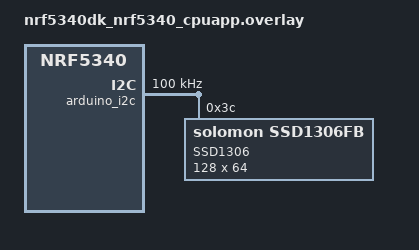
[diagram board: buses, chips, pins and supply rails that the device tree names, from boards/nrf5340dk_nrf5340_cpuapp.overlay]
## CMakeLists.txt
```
# SPDX-License-Identifier: Apache-2.0

cmake_minimum_required(VERSION 3.20.0)
set(SHIELD ssd1306_128x64)

find_package(Zephyr REQUIRED HINTS $ENV{ZEPHYR_BASE})
project(31_iic_oled)

target_sources(app PRIVATE src/main.c)
```

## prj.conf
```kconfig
# ==============================================
# 基础系统配置
# ==============================================
CONFIG_LOG=y
CONFIG_PRINTK=y
CONFIG_GPIO=y
CONFIG_ASSERT=y
CONFIG_SERIAL=y

# ==============================================
# 显示驱动配置 (SSD1306)
# ==============================================
CONFIG_DISPLAY=y
CONFIG_DISPLAY_LOG_LEVEL_DBG=y
CONFIG_SSD1306=y
# CONFIG_SSD1306_REVERSE_MODE=y
CONFIG_UART_CONSOLE=y

# ==============================================
# I2C 配置
# ==============================================
CONFIG_I2C=y
CONFIG_I2C_NRFX=y

# # ==============================================
# # LVGL 核心配置
# # ==============================================
# CONFIG_LVGL=y
# CONFIG_LV_Z_MEM_POOL_SIZE=16384
# CONFIG_LV_Z_SHELL=y
# CONFIG_LV_USE_LOG=y
# CONFIG_LV_LOG_LEVEL_INFO=y
#
# # ==============================================
# # LVGL 功能组件
# # ==============================================
# CONFIG_LV_USE_LABEL=y
# CONFIG_LV_USE_BUTTON=y  # 注意是BUTTON不是BTN
# CONFIG_LV_USE_IMAGE=y   # 注意是IMAGE不是IMG
#
# # ==============================================
# # 字体配置
# # ==============================================
# CONFIG_LV_FONT_MONTSERRAT_12=y
# # CONFIG_LV_FONT_MONTSERRAT_14=y
# # CONFIG_LV_FONT_MONTSERRAT_16=y
# CONFIG_LV_FONT_DEFAULT_MONTSERRAT_12=y
# # CONFIG_LV_FONT_DEFAULT_MONTSERRAT_14=y
# # CONFIG_LV_FONT_DEFAULT_MONTSERRAT_16=y

# ==============================================
# 内存配置
# ==============================================
CONFIG_MAIN_STACK_SIZE=4096
CONFIG_SYSTEM_WORKQUEUE_STACK_SIZE=4096
CONFIG_HEAP_MEM_POOL_SIZE=32768

# ==============================================
# Nordic 特定配置
# ==============================================
CONFIG_NRFX_TIMER0=y
CONFIG_SYS_CLOCK_TICKS_PER_SEC=1000

# 启用双核处理
CONFIG_MULTITHREADING=y

# 启用字符帧缓冲
CONFIG_CHARACTER_FRAMEBUFFER=y
```

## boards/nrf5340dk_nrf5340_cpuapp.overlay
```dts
/*
 * Copyright (c) 2019 PHYTEC Messtechnik GmbH
 *
 * https://github.com/zephyrproject-rtos/zephyr/blob/main/boards/shields/ssd1306/ssd1306_128x64.overlay
 *
 * SPDX-License-Identifier: Apache-2.0
 */

// For more help, browse the DeviceTree doc at https://docs.zephyrproject.org/latest/guides/dts/index.html
// also ref nRF DeviceTree extension doc at https://nrfconnect.github.io/vscode-nrf-connect/devicetree/nrfdevicetree.html

#include <zephyr/dt-bindings/i2c/i2c.h>

/ {
    chosen {
        zephyr,display = &ssd1306;
    };
};

&pinctrl {
    i2c1_default: i2c1_default {
        group1 {
            psels = <NRF_PSEL(TWIM_SDA, 1, 2)>, <NRF_PSEL(TWIM_SCL, 1, 3)>; // GPIO P1.2, GPIO P1.3
            bias-pull-up;
        };
    };

    i2c1_sleep: i2c1_sleep {
        group1 {
            psels = <NRF_PSEL(TWIM_SDA, 1, 2)>, <NRF_PSEL(TWIM_SCL, 1, 3)>; // GPIO P1.2, GPIO P1.3
            bias-pull-up;
            low-power-enable;
        };
    };
};

&arduino_i2c {
    status = "okay";
    zephyr,concat-buf-size = <1025>;  // 28x64 单色屏 = 1024 字节 + 1; 最少: 1 + 128 + 1（额外预留）
    zephyr,flash-buf-max-size = <2050>;
    clock-frequency=<I2C_BITRATE_STANDARD>;

    ssd1306: ssd1306@3c {
        compatible = "solomon,ssd1306fb";
        reg = <0x3c>;
        width = <128>;
        height = <64>;
        segment-offset = <0>;
        page-offset = <0>;
        display-offset = <0>;
        multiplex-ratio = <63>;
        segment-remap;
        com-invdir;
        prechargep = <0x22>;
        label = "SSD1306";
    };
};
```

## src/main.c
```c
#include <zephyr/kernel.h>
#include <zephyr/device.h>
#include <zephyr/display/cfb.h>
#include <string.h>
#include <math.h>
// #include <zephyr/drivers/i2c.h>
// #include <zephyr/drivers/display.h>
#include <zephyr/logging/log.h>
LOG_MODULE_REGISTER(display_test, LOG_LEVEL_INF);

static const struct device *display = DEVICE_DT_GET(DT_CHOSEN(zephyr_display));
// const struct device *display = DEVICE_DT_GET(DT_NODELABEL(ssd1306));

void my_draw_point(const struct device *dev, uint16_t xx, uint16_t yy) {
	cfb_draw_point(dev, &(struct cfb_position){.x=xx, .y=yy});
}

// 滚动文本（修正版）
void cfb_scroll_text(const struct device *dev, const char *text, uint16_t speed_ms) {
	uint16_t width = cfb_get_display_parameter(dev, CFB_DISPLAY_WIDTH);
	uint16_t text_width = strlen(text) * 8; // 假设每个字符宽 8 像素
	int16_t x = width; // 从屏幕右侧开始

	for (int i=0; i<2*text_width; i++) {
		cfb_framebuffer_clear(dev, false);
		cfb_print(dev, text, x, 0); // 在 (x, 0) 打印文本
		cfb_framebuffer_finalize(dev);

		x--;
		if (x < -text_width) {
			x = width; // 循环滚动
		}
		k_msleep(speed_ms);
	}
}

// 动态波形（修正版）
void cfb_draw_waveform(const struct device *dev, int16_t *data, uint16_t len, uint16_t speed_ms) {
	while (1) {
		// 1. 清屏
		cfb_framebuffer_clear(dev, false);

		// 2. 绘制波形
		for (uint16_t i = 0; i < len - 1; i++) {
			struct cfb_position start = {.x = i, .y = 32 - data[i]};
			struct cfb_position end = {.x = i + 1, .y = 32 - data[i + 1]};
			cfb_draw_line(dev, &start, &end);
		}

		// 3. 刷新屏幕
		cfb_framebuffer_finalize(dev);
		// 到上面, 是画了一帧

		// 4. 动态更新数据（向左平移波形）
		int16_t first_value = data[0];
		for (uint16_t i = 0; i < len - 1; i++) {
			data[i] = data[i + 1]; // 左移数据
		}
		data[len - 1] = first_value; // 循环填充

		// 5. 控制刷新速度
		k_msleep(speed_ms);
	}
}

int main() {
	LOG_INF("Starting OLED Demo...");

	if (!device_is_ready(display)) {
		LOG_ERR("Error: Display device is not ready!");
		return -1;
	} else {
		LOG_INF("Display device is ready!");
	}

	int err = cfb_framebuffer_init(display);
	if (err != 0) {
		LOG_ERR("Error %d: Character Framebuffer (CFB) initialization failed!\n", err);
		return err;
	} else {
		LOG_INF("Character Framebuffer (CFB) initialized!");
	}

	LOG_INF("Turning on screen, and cleared the framebuffer...");
	display_blanking_off(display);  // 开启显示（可选）
	cfb_framebuffer_clear(display, true); // 清空屏幕 use false?
	LOG_INF("Waiting...");
	k_msleep(1000);

	// 示例：滚动文本
	cfb_scroll_text(display, "Hello, World~~~", 100);
	k_msleep(1000);

	// 示例：动态波形
	int16_t sine_wave[128];
	for (int i = 0; i < 128; i++) { sine_wave[i] = 20 * sin(i * 0.1); }
	// 启动动态波形（参数：设备指针、数据数组、数据长度、刷新速度ms）
	cfb_draw_waveform(display, sine_wave, 128, 50); // 50ms刷新一次

	return 0;
}
```
